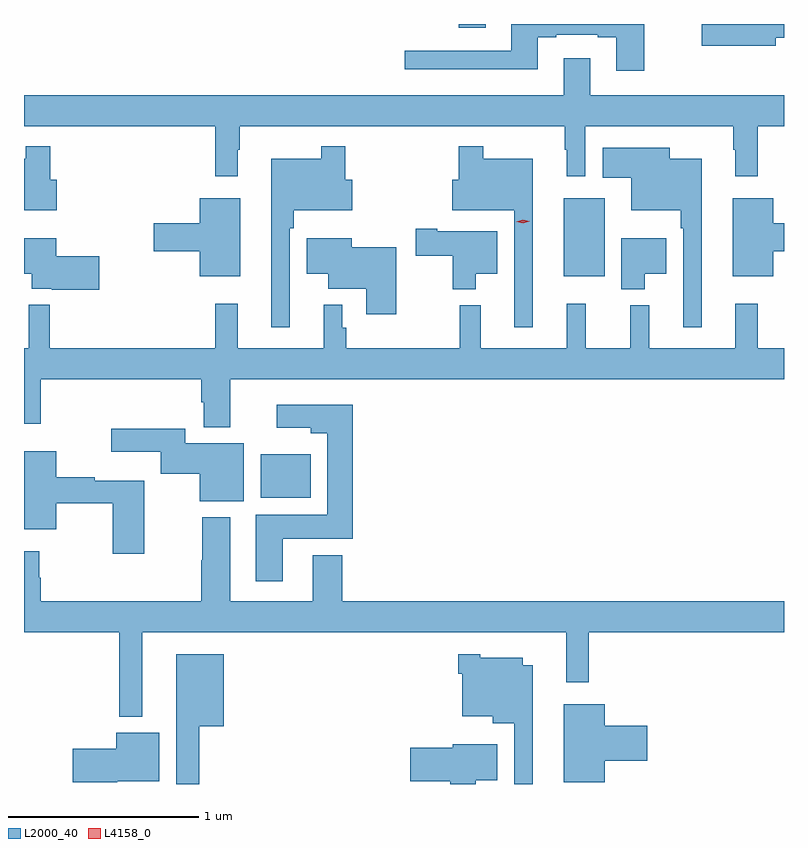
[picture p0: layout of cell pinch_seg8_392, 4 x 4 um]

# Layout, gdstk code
import gdstk
lib = gdstk.Library(unit=1e-6, precision=1e-09)
def R(c, l, rs):  # rectangles x0, y0, x1, y1
    for r in rs: c.add(gdstk.rectangle(r[:2], r[2:], *l))
def P(c, l, *ps):  # polygons
    for p in ps: c.add(gdstk.Polygon(p, *l))
L2000_40 = (2000, 40)
L4158_0 = (4158, 0)

pinch_seg8_392 = lib.new_cell('pinch_seg8_392')
R(pinch_seg8_392, L2000_40, [(556.175,1090.568,556.438,1090.798), (557.771,1091.735,557.986,1092.145), (557.219,1093.041,557.359,1093.062)])
P(pinch_seg8_392, L2000_40, [(558.886,1092.99),(558.93,1092.99),(558.93,1093.062),(558.498,1093.062),(558.498,1092.947),(558.886,1092.947)],
  [(558.195,1093.062),(557.495,1093.062),(557.495,1092.921),(556.935,1092.921),(556.935,1092.824),(557.635,1092.824),(557.635,1092.993),(557.731,1092.993),(557.731,1093.005),(557.951,1093.005),(557.951,1092.993),(558.047,1092.993),(558.047,1092.816),(558.195,1092.816)],
  [(556.054,1092.401),(556.066,1092.401),(556.066,1092.524),(557.775,1092.524),(557.775,1092.401),(557.786,1092.401),(557.786,1092.261),(557.883,1092.261),(557.883,1092.524),(558.663,1092.524),(558.663,1092.401),(558.674,1092.401),(558.674,1092.261),(558.791,1092.261),(558.791,1092.524),(558.93,1092.524),(558.93,1092.688),(557.911,1092.688),(557.911,1092.883),(557.771,1092.883),(557.771,1092.688),(554.93,1092.688),(554.93,1092.524),(555.937,1092.524),(555.937,1092.261),(556.054,1092.261)],
  [(557.608,1092.352),(557.347,1092.352),(557.347,1092.418),(557.218,1092.418),(557.218,1092.241),(557.184,1092.241),(557.184,1092.083),(557.511,1092.083),(557.511,1091.466),(557.608,1091.466)],
  [(555.103,1092.241),(555.068,1092.241),(555.068,1092.418),(554.94,1092.418),(554.94,1092.352),(554.93,1092.352),(554.93,1092.083),(555.103,1092.083)],
  [(556.329,1091.987),(556.349,1091.987),(556.349,1092.083),(556.657,1092.083),(556.657,1092.241),(556.622,1092.241),(556.622,1092.418),(556.494,1092.418),(556.494,1092.352),(556.232,1092.352),(556.232,1091.466),(556.329,1091.466)],
  [(558.496,1092.352),(558.328,1092.352),(558.328,1092.412),(557.976,1092.412),(557.976,1092.254),(558.125,1092.254),(558.125,1092.083),(558.387,1092.083),(558.387,1091.987),(558.399,1091.987),(558.399,1091.466),(558.496,1091.466)],
  [(556.069,1092.145),(555.854,1092.145),(555.854,1092.014),(555.612,1092.014),(555.612,1091.867),(555.854,1091.867),(555.854,1091.735),(556.069,1091.735)],
  [(558.874,1091.867),(558.93,1091.867),(558.93,1092.014),(558.874,1092.014),(558.874,1092.145),(558.659,1092.145),(558.659,1091.735),(558.874,1091.735)],
  [(557.308,1091.747),(557.422,1091.747),(557.422,1091.971),(557.104,1091.971),(557.104,1091.984),(556.992,1091.984),(556.992,1091.842),(557.186,1091.842),(557.186,1091.666),(557.308,1091.666)],
  [(556.888,1091.887),(556.654,1091.887),(556.654,1091.935),(556.418,1091.935),(556.418,1091.747),(556.532,1091.747),(556.532,1091.669),(556.73,1091.669),(556.73,1091.535),(556.888,1091.535)],
  [(558.196,1091.747),(558.31,1091.747),(558.31,1091.935),(558.074,1091.935),(558.074,1091.666),(558.196,1091.666)],
  [(555.325,1091.84),(555.1,1091.84),(555.1,1091.935),(554.93,1091.935),(554.93,1091.747),(554.972,1091.747),(554.972,1091.669),(555.076,1091.669),(555.076,1091.664),(555.325,1091.664)],
  [(558.93,1091.356),(558.791,1091.356),(558.791,1091.59),(558.674,1091.59),(558.674,1091.356),(558.221,1091.356),(558.221,1091.581),(558.121,1091.581),(558.121,1091.356),(557.886,1091.356),(557.886,1091.59),(557.786,1091.59),(557.786,1091.356),(557.333,1091.356),(557.333,1091.581),(557.223,1091.581),(557.223,1091.356),(556.625,1091.356),(556.625,1091.463),(556.605,1091.463),(556.605,1091.584),(556.508,1091.584),(556.508,1091.356),(556.055,1091.356),(556.055,1091.59),(555.937,1091.59),(555.937,1091.356),(555.066,1091.356),(555.066,1091.584),(554.954,1091.584),(554.954,1091.356),(554.93,1091.356),(554.93,1090.959),(555.017,1090.959),(555.017,1091.192),(555.863,1091.192),(555.863,1091.072),(555.875,1091.072),(555.875,1090.94),(556.015,1090.94),(556.015,1091.192),(558.93,1091.192)],
  [(556.291,1090.352),(556.661,1090.352),(556.661,1091.059),(556.26,1091.059),(556.26,1090.937),(556.439,1090.937),(556.439,1090.907),(556.526,1090.907),(556.526,1090.48),(556.151,1090.48),(556.151,1090.128),(556.291,1090.128)],
  [(556.087,1090.855),(555.778,1090.855),(555.778,1090.933),(555.39,1090.933),(555.39,1090.811),(555.65,1090.811),(555.65,1090.694),(555.854,1090.694),(555.854,1090.55),(556.087,1090.55)],
  [(555.564,1090.657),(555.302,1090.657),(555.302,1090.676),(555.1,1090.676),(555.1,1090.813),(554.93,1090.813),(554.93,1090.403),(555.1,1090.403),(555.1,1090.54),(555.398,1090.54),(555.398,1090.275),(555.564,1090.275)],
  [(555.553,1089.86),(557.785,1089.86),(557.785,1089.597),(557.903,1089.597),(557.903,1089.86),(558.93,1089.86),(558.93,1090.024),(556.604,1090.024),(556.604,1090.267),(556.451,1090.267),(556.451,1090.024),(556.015,1090.024),(556.015,1090.465),(555.868,1090.465),(555.868,1090.239),(555.863,1090.239),(555.863,1090.024),(555.017,1090.024),(555.017,1090.148),(555.01,1090.148),(555.01,1090.288),(554.93,1090.288),(554.93,1089.86),(555.432,1089.86),(555.432,1089.416),(555.553,1089.416)],
  [(557.608,1089.688),(557.554,1089.688),(557.554,1089.727),(557.331,1089.727),(557.331,1089.745),(557.216,1089.745),(557.216,1089.641),(557.237,1089.641),(557.237,1089.419),(557.396,1089.419),(557.396,1089.383),(557.511,1089.383),(557.511,1089.062),(557.608,1089.062)],
  [(555.853,1089.365),(555.982,1089.365),(555.982,1089.745),(555.731,1089.745),(555.731,1089.062),(555.853,1089.062)],
  [(557.986,1089.185),(558.211,1089.185),(558.211,1089.368),(557.986,1089.368),(557.986,1089.481),(557.771,1089.481),(557.771,1089.071),(557.986,1089.071)],
  [(555.42,1089.077),(555.643,1089.077),(555.643,1089.331),(555.416,1089.331),(555.416,1089.248),(555.186,1089.248),(555.186,1089.07),(555.42,1089.07)],
  [(557.308,1089.083),(557.422,1089.083),(557.422,1089.271),(557.186,1089.271),(557.186,1089.254),(556.962,1089.254),(556.962,1089.076),(557.174,1089.076),(557.174,1089.062),(557.308,1089.062)])
P(pinch_seg8_392, L4158_0, [(557.557,1092.013),(557.521,1092.021),(557.521,1092.021),(557.521,1092.021),(557.556,1092.033),(557.592,1092.025),(557.592,1092.024),(557.592,1092.024)])

lib.write_gds('pinch_seg8_392.gds')
